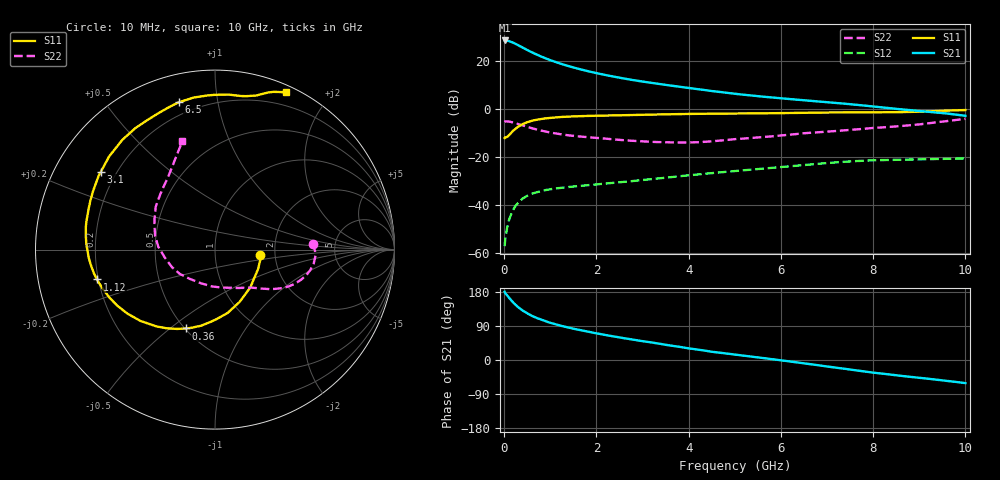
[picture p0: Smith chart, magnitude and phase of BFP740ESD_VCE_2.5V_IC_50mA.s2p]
! Infineon Technologies  Discrete & RF Semiconductors
! BFP740ESD
! VCE =  2.5 V,  IC =  50 mA
! Common Emitter S-Parameters:  Jan 2016
# GHz  S  MA  R  50
!  f  S11  S21  S12  S22
! GHz  MAG  ANG  MAG  ANG  MAG  ANG  MAG  ANG
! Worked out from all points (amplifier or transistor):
!   233 points, 10 MHz to 10 GHz, reference 50 ohm
!   highest |S21| = 28.7 dB at 10 MHz (marker M1)
!   |S21| within 3 dB of that: start of sweep to 403.3 MHz
!   unconditionally stable (mu >= 1): start of sweep to 547.5 MHz; 936.4 MHz to 9.336 GHz
!   at 200 MHz: K = 1.56, MAG = 30.3 dB, |S12| = -41.7 dB
!   at 1.74 GHz: K = 1.22, MAG = 21.2 dB, |S12| = -31.8 dB
!   at 10 GHz: K = 0.67, MSG = 8.9 dB, |S12| = -20.5 dB
!   S11 on the Smith chart (normalised r, x): 10 MHz: 1.66, -0.12; 360 MHz: 0.51, -0.57; 1.12 GHz: 0.19, -0.12; 3.1 GHz: 0.14, +0.30; 6.5 GHz: 0.13, +0.77; 10 GHz: 0.07, +1.55
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0.01  0.2515 -7.5  27.18 180.0  0.0014 44.3  0.5451 3.5
0.02  0.259 -11.6  27.14 177.2  0.0019 43.9  0.5567 -0.6
0.1  0.2881 -46.9  26.44 165.1  0.0047 58.5  0.5553 -8.0
0.16  0.3279 -67.7  25.22 156.4  0.0068 61.5  0.54 -12.8
0.2  0.3598 -78.7  24.31 151.2  0.0082 60.5  0.5283 -15.6
0.26  0.4008 -92.7  22.71 144.1  0.0101 58.8  0.5082 -19.3
0.36  0.4675 -110.0  20.25 134.2  0.0127 54.9  0.4737 -24.5
0.5  0.5374 -127.1  17.19 123.0  0.0157 50.0  0.4295 -30.0
0.6  0.5746 -136.2  15.39 116.6  0.0173 47.0  0.4025 -32.9
0.7  0.6042 -143.8  13.88 111.2  0.0186 44.6  0.3793 -35.5
0.9  0.6469 -155.8  11.51 102.0  0.0207 41.3  0.3425 -39.5
1.12  0.6781 -165.8  9.625 94.0  0.0223 39.0  0.3125 -43.2
1.4  0.7041 -175.9  7.899 85.3  0.024 37.7  0.2857 -47.9
1.68  0.7205 175.8  6.695 77.9  0.0255 37.3  0.2682 -52.3
2.26  0.7402 161.8  5.03 64.6  0.0287 38.0  0.2411 -62.4
3.1  0.7699 145.7  3.662 48.0  0.0343 39.5  0.2116 -83.3
3.4  0.7805 140.4  3.326 42.3  0.0366 39.6  0.2063 -92.4
5.1  0.8143 117.4  2.052 12.8  0.0525 35.7  0.2414 -148.1
6.5  0.8451 103.9  1.542 -8.9  0.0688 28.2  0.3164 177.1
6.8  0.8502 100.3  1.457 -13.6  0.0728 25.6  0.3308 170.8
8.4  0.8675 80.6  1.043 -38.9  0.088 8.1  0.4319 135.2
10  0.9621 65.7  0.731 -61.1  0.0944 -6.2  0.6312 106.7
